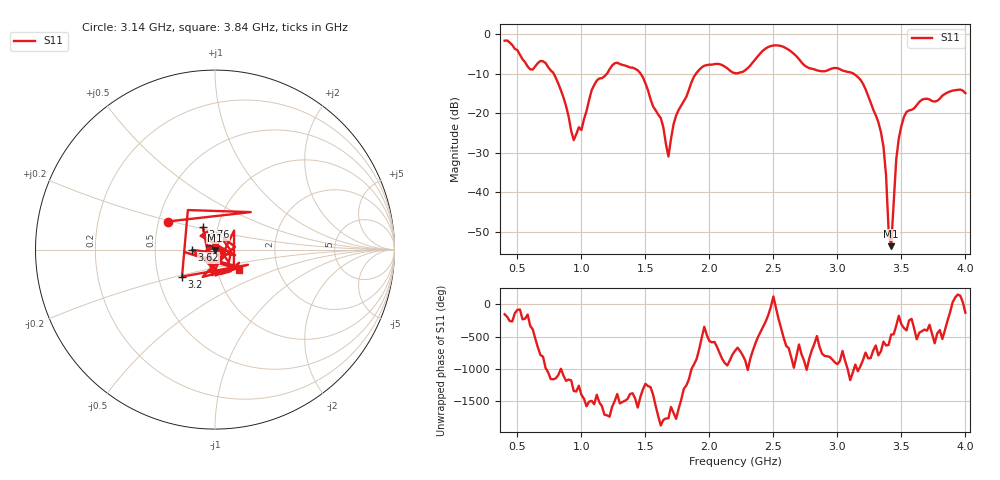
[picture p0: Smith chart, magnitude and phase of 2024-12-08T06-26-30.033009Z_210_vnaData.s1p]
!Created with skrf (http://scikit-rf.org).
# Hz S RI R 50.0
!freq ReS11 ImS11
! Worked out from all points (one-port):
!   181 points, 400 MHz to 4 GHz, reference 50 ohm
!   lowest |S11| = -53.6 dB at 3.42 GHz (marker M1), VSWR 1.00, Z = 49.9 - j0.199 ohm
!   |S11| at or under -10 dB: 784.7 MHz to 1.198 GHz (413.6 MHz wide, 41.7 % of centre); 1.464 GHz to 1.894 GHz (430.1 MHz wide, 25.6 % of centre); 3.128 GHz to end of sweep
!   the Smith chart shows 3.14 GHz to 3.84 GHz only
!   S11 on the Smith chart (normalised r, x): 3.14 GHz: 0.56, +0.19; 3.2 GHz: 0.66, -0.21; 3.62 GHz: 0.77, -0.00; 3.76 GHz: 0.85, +0.21; 3.84 GHz: 1.28, -0.30
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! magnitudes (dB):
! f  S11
! 400 MHz  -1.6
! 600 MHz  -8.8
! 720 MHz  -7.2
! 860 MHz  -16.0
! 940 MHz  -26.8
! 1.12 GHz  -11.7
! 1.3 GHz  -7.5
! 1.48 GHz  -10.8
! 1.62 GHz  -21.2
! 1.68 GHz  -30.9
! 1.76 GHz  -19.1
! 1.94 GHz  -8.3
! 2.2 GHz  -9.8
! 2.48 GHz  -2.9
! 2.66 GHz  -4.9
! 3.1 GHz  -9.6
! 3.14 GHz  -10.3
! 3.2 GHz  -12.5
! 3.36 GHz  -28.4
! 3.4 GHz  -49.6
! 3.42 GHz  -53.6
! 3.46 GHz  -31.6
! 3.48 GHz  -26.3
! 3.56 GHz  -19.2
! 3.62 GHz  -17.9
! 3.76 GHz  -17.0
! 3.84 GHz  -15.1
! 4 GHz  -14.9
